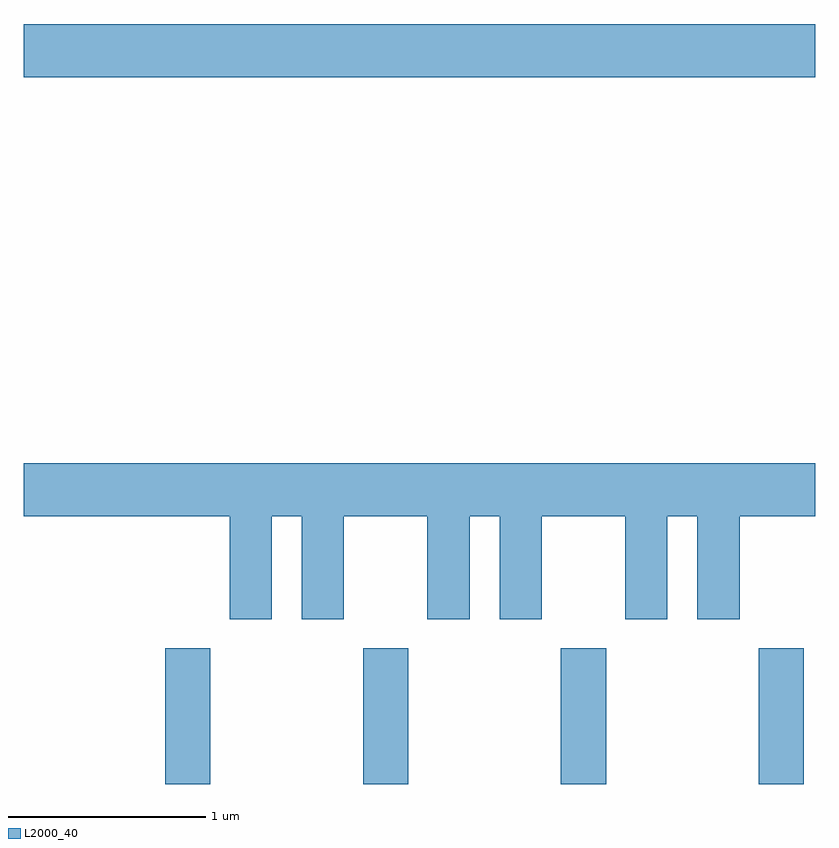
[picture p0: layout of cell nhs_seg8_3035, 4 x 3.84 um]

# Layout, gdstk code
import gdstk
lib = gdstk.Library(unit=1e-6, precision=1e-09)
def R(c, l, rs):  # rectangles x0, y0, x1, y1
    for r in rs: c.add(gdstk.rectangle(r[:2], r[2:], *l))
def A(c, l, x, y, w, h, nx, ny, dx, dy):  # array of equal rectangles
    R(c, l, [(x+i*dx, y+j*dy, x+i*dx+w, y+j*dy+h) for i in range(nx) for j in range(ny)])
def P(c, l, *ps):  # polygons
    for p in ps: c.add(gdstk.Polygon(p, *l))
L2000_40 = (2000, 40)

nhs_seg8_3035 = lib.new_cell('nhs_seg8_3035')
A(nhs_seg8_3035, L2000_40, 276.326, 1888.342, 0.228, 0.687, 4, 1, 1, 0)
R(nhs_seg8_3035, L2000_40, [(275.611,1891.916,279.611,1892.184)])
P(nhs_seg8_3035, L2000_40, [(276.864,1889.696),(277.016,1889.696),(277.016,1889.176),(277.229,1889.176),(277.229,1889.696),(277.651,1889.696),(277.651,1889.176),(277.864,1889.176),(277.864,1889.696),(278.016,1889.696),(278.016,1889.176),(278.229,1889.176),(278.229,1889.696),(278.651,1889.696),(278.651,1889.176),(278.864,1889.176),(278.864,1889.696),(279.016,1889.696),(279.016,1889.176),(279.229,1889.176),(279.229,1889.696),(279.611,1889.696),(279.611,1889.964),(275.611,1889.964),(275.611,1889.696),(276.651,1889.696),(276.651,1889.176),(276.864,1889.176)])

lib.write_gds('nhs_seg8_3035.gds')
